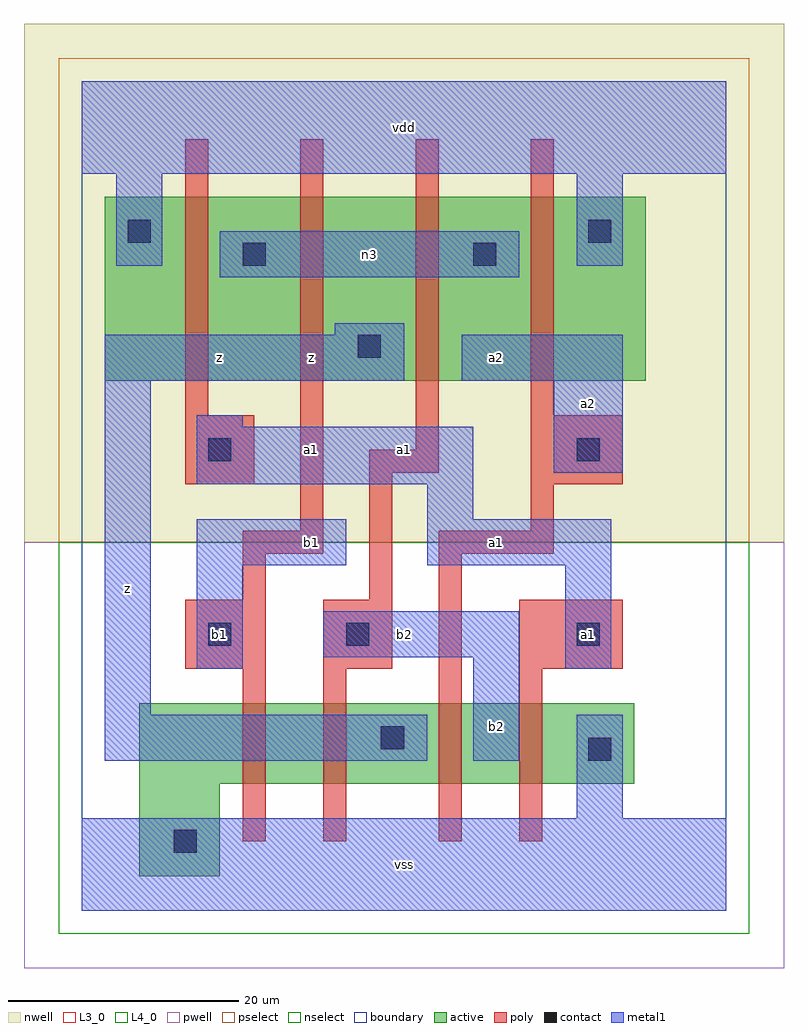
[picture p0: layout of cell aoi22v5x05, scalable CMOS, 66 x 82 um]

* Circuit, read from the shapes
.subckt aoi22v5x05 a1 a2 b1 b2 n3 vdd vss z
M1 n1 b1 vss VSUBS nfet w=7u l=2u
M2 z b2 n1 VSUBS nfet w=7u l=2u
M3 n2 a2 z VSUBS nfet w=7u l=2u
M4 vss a1 n2 VSUBS nfet w=7u l=2u
M5 n3 a1 vdd n4 pfet w=16u l=2u
M6 z b1 n3 n4 pfet w=16u l=2u
M7 n3 b2 z n4 pfet w=16u l=2u
M8 vdd a2 n3 n4 pfet w=16u l=2u
.ends

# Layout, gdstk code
import gdstk
lib = gdstk.Library(unit=1e-6, precision=1e-09)
def R(c, l, rs):  # rectangles x0, y0, x1, y1
    for r in rs: c.add(gdstk.rectangle(r[:2], r[2:], *l))
L3_0 = (3, 0)
L4_0 = (4, 0)
contact = (25, 0)
pwell = (41, 0)
nwell = (42, 0)
active = (43, 0)
pselect = (44, 0)
nselect = (45, 0)
poly = (46, 0)
metal1 = (49, 0)
boundary = (63, 0)

aoi22v5x05 = lib.new_cell('aoi22v5x05')
R(aoi22v5x05, L3_0, [(5,3,12,11), (5,11,48,18)])
R(aoi22v5x05, L4_0, [(2,46,49,62)])
R(aoi22v5x05, contact, [(8,5,10,7), (44,13,46,15), (26,14,28,16), (11,23,13,25), (23,23,25,25), (43,23,45,25), (11,39,13,41), (43,39,45,41), (24,48,26,50), (14,56,16,58), (34,56,36,58), (4,58,6,60), (44,58,46,60)])
R(aoi22v5x05, pwell, [(-5,-5,61,32)])
R(aoi22v5x05, nwell, [(-5,32,61,77)])
R(aoi22v5x05, active, [(5,3,12,11), (5,11,48,18), (2,46,49,62)])
R(aoi22v5x05, pselect, [(-2,32,58,74)])
R(aoi22v5x05, nselect, [(-2,-2,58,32)])
R(aoi22v5x05, poly, [(14,6,16,21), (21,6,23,21), (31,6,33,31), (38,6,40,21), (9,21,16,27), (21,21,27,27), (38,21,47,27), (14,27,16,31), (25,27,27,38), (14,31,21,33), (31,31,41,33), (19,33,21,67), (39,33,41,37), (9,37,15,43), (39,37,47,43), (25,38,31,40), (29,40,31,67), (9,43,11,67), (39,43,41,67)])
R(aoi22v5x05, metal1, [(0,0,56,8), (43,8,47,17), (2,13,30,17), (34,13,38,22), (2,17,6,46), (10,21,14,30), (42,21,46,30), (21,22,38,26), (10,30,23,34), (30,30,46,34), (30,34,34,37), (10,37,34,42), (41,38,47,46), (10,42,14,43), (2,46,28,50), (33,46,47,50), (22,50,28,51), (12,55,38,59), (3,56,7,64), (43,56,47,64), (0,64,56,72)])
R(aoi22v5x05, boundary, [(0,0,56,72)])
aoi22v5x05.add(gdstk.Label('n3', (25,57), layer=49, texttype=0))
aoi22v5x05.add(gdstk.Label('z', (4,28), layer=49, texttype=0))
aoi22v5x05.add(gdstk.Label('b1', (12,24), layer=49, texttype=0))
aoi22v5x05.add(gdstk.Label('b1', (20,32), layer=49, texttype=0))
aoi22v5x05.add(gdstk.Label('a1', (20,40), layer=49, texttype=0))
aoi22v5x05.add(gdstk.Label('z', (12,48), layer=49, texttype=0))
aoi22v5x05.add(gdstk.Label('z', (20,48), layer=49, texttype=0))
aoi22v5x05.add(gdstk.Label('vss', (28,4), layer=49, texttype=0))
aoi22v5x05.add(gdstk.Label('b2', (36,16), layer=49, texttype=0))
aoi22v5x05.add(gdstk.Label('b2', (28,24), layer=49, texttype=0))
aoi22v5x05.add(gdstk.Label('a1', (36,32), layer=49, texttype=0))
aoi22v5x05.add(gdstk.Label('a1', (28,40), layer=49, texttype=0))
aoi22v5x05.add(gdstk.Label('a2', (36,48), layer=49, texttype=0))
aoi22v5x05.add(gdstk.Label('vdd', (28,68), layer=49, texttype=0))
aoi22v5x05.add(gdstk.Label('a1', (44,24), layer=49, texttype=0))
aoi22v5x05.add(gdstk.Label('a2', (44,44), layer=49, texttype=0))

lib.write_gds('aoi22v5x05.gds')
